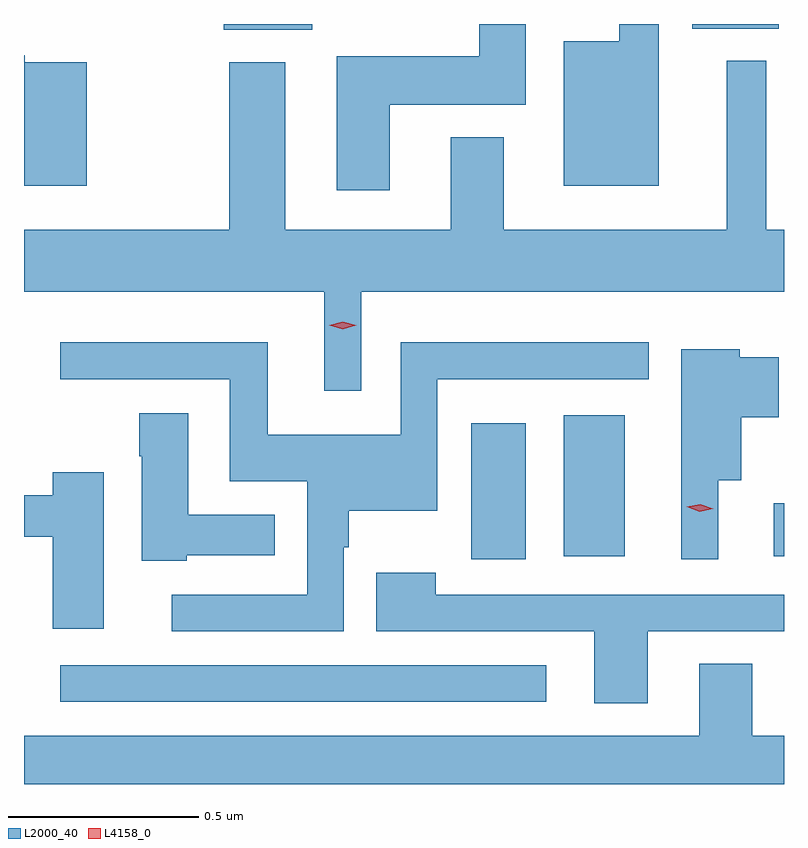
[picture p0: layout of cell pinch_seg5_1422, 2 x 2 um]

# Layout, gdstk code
import gdstk
lib = gdstk.Library(unit=1e-6, precision=1e-09)
def R(c, l, rs):  # rectangles x0, y0, x1, y1
    for r in rs: c.add(gdstk.rectangle(r[:2], r[2:], *l))
def P(c, l, *ps):  # polygons
    for p in ps: c.add(gdstk.Polygon(p, *l))
L2000_40 = (2000, 40)
L4158_0 = (4158, 0)

pinch_seg5_1422 = lib.new_cell('pinch_seg5_1422')
R(pinch_seg5_1422, L2000_40, [(201.333,910.293,202.612,910.389), (202.415,910.668,202.558,911.026), (202.658,910.676,202.819,911.047), (203.211,910.676,203.238,910.816), (201.764,912.062,201.997,912.077), (202.997,912.065,203.224,912.077)])
P(pinch_seg5_1422, L2000_40, [(202.201,911.864),(202.558,911.864),(202.558,912.077),(202.436,912.077),(202.436,911.992),(202.061,911.992),(202.061,911.64),(202.201,911.64)],
  [(202.909,912.077),(202.805,912.077),(202.805,912.031),(202.658,912.031),(202.658,911.651),(202.909,911.651)],
  [(201.403,911.977),(201.24,911.977),(201.24,911.995),(201.238,911.995),(201.238,911.651),(201.403,911.651)],
  [(202.125,911.372),(203.238,911.372),(203.238,911.536),(203.191,911.536),(203.191,911.98),(203.087,911.98),(203.087,911.536),(202.501,911.536),(202.501,911.779),(202.361,911.779),(202.361,911.536),(201.925,911.536),(201.925,911.977),(201.778,911.977),(201.778,911.536),(201.238,911.536),(201.238,911.372),(202.028,911.372),(202.028,911.112),(202.125,911.112)],
  [(202.08,910.7),(202.093,910.7),(202.093,910.796),(202.326,910.796),(202.326,911.142),(202.882,911.142),(202.882,911.239),(202.23,911.239),(202.23,910.996),(201.88,910.996),(201.88,911.239),(201.333,911.239),(201.333,911.142),(201.779,911.142),(201.779,910.874),(201.984,910.874),(201.984,910.575),(201.627,910.575),(201.627,910.479),(202.08,910.479)],
  [(203.065,910.877),(203.125,910.877),(203.125,911.042),(203.224,911.042),(203.224,911.2),(203.121,911.2),(203.121,911.221),(202.967,911.221),(202.967,910.668),(203.065,910.668)],
  [(201.666,910.679),(201.898,910.679),(201.898,910.786),(201.67,910.786),(201.67,911.053),(201.541,911.053),(201.541,910.94),(201.548,910.94),(201.548,910.664),(201.666,910.664)],
  [(201.448,910.897),(201.314,910.897),(201.314,910.837),(201.238,910.837),(201.238,910.728),(201.314,910.728),(201.314,910.485),(201.448,910.485)],
  [(202.879,910.479),(203.238,910.479),(203.238,910.575),(202.322,910.575),(202.322,910.633),(202.165,910.633),(202.165,910.479),(202.739,910.479),(202.739,910.29),(202.879,910.29)],
  [(203.238,910.204),(203.155,910.204),(203.155,910.394),(203.015,910.394),(203.015,910.204),(201.238,910.204),(201.238,910.077),(203.238,910.077)])
P(pinch_seg5_1422, L4158_0, [(203.016,910.793),(202.982,910.806),(202.982,910.806),(202.982,910.806),(203.018,910.813),(203.052,910.801),(203.052,910.801),(203.052,910.801)],
  [(202.077,911.274),(202.041,911.284),(202.041,911.284),(202.041,911.284),(202.077,911.294),(202.112,911.284),(202.112,911.284),(202.112,911.284)])

lib.write_gds('pinch_seg5_1422.gds')
